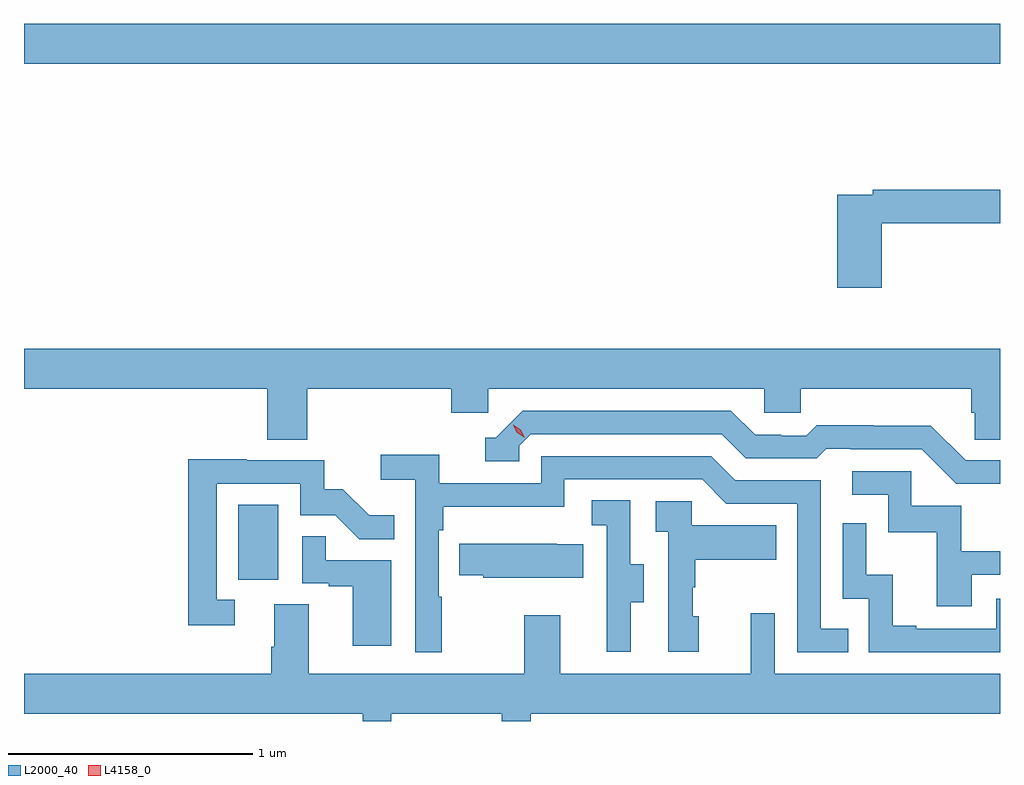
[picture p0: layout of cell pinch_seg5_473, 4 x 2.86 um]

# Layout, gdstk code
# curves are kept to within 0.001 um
import gdstk
lib = gdstk.Library(unit=1e-6, precision=1e-09)
def R(c, l, rs):  # rectangles x0, y0, x1, y1
    for r in rs: c.add(gdstk.rectangle(r[:2], r[2:], *l))
def P(c, l, *ps):  # polygons
    for p in ps: c.add(gdstk.Polygon(p, *l))
L2000_40 = (2000, 40)
L4158_0 = (4158, 0)

pinch_seg5_473 = lib.new_cell('pinch_seg5_473')
R(pinch_seg5_473, L2000_40, [(923.672,846.654,923.836,846.961), (922.793,848.768,926.793,848.932)])
P(pinch_seg5_473, L2000_40, [(926.309,848.116),(926.793,848.116),(926.793,848.252),(926.272,848.252),(926.272,848.232),(926.126,848.232),(926.126,847.851),(926.309,847.851)],
  [(922.793,847.436),(923.789,847.436),(923.789,847.228),(923.954,847.228),(923.954,847.436),(924.545,847.436),(924.545,847.338),(924.696,847.338),(924.696,847.436),(925.827,847.436),(925.827,847.338),(925.977,847.338),(925.977,847.436),(926.675,847.436),(926.675,847.338),(926.689,847.338),(926.689,847.228),(926.793,847.228),(926.793,847.6),(922.793,847.6)],
  [(926.793,847.143),(926.652,847.143),(926.51,847.285),(926.274,847.285),(926.274,847.288),(926.041,847.288),(925.999,847.245),(925.896,847.245),(925.896,847.248),(925.789,847.248),(925.69,847.347),(924.837,847.347),(924.726,847.236),(924.683,847.236),(924.683,847.14),(924.822,847.14),(924.822,847.203),(924.87,847.251),(925.653,847.251),(925.752,847.152),(926.041,847.152),(926.08,847.191),(926.179,847.191),(926.179,847.188),(926.472,847.188),(926.613,847.047),(926.793,847.047)],
  [(924.505,846.584),(924.492,846.584),(924.492,846.857),(924.512,846.857),(924.512,846.953),(925.008,846.953),(925.008,847.065),(925.572,847.065),(925.671,846.966),(925.962,846.966),(925.962,846.357),(926.171,846.357),(926.171,846.453),(926.058,846.453),(926.058,847.062),(925.708,847.062),(925.609,847.161),(924.912,847.161),(924.912,847.05),(924.494,847.05),(924.494,847.166),(924.255,847.166),(924.255,847.064),(924.396,847.064),(924.396,846.357),(924.505,846.357)],
  [(923.656,846.573),(923.583,846.573),(923.583,847.047),(923.925,847.047),(923.925,846.918),(924.069,846.918),(924.167,846.82),(924.311,846.82),(924.311,846.919),(924.207,846.919),(924.1,847.026),(924.024,847.026),(924.024,847.143),(923.705,847.143),(923.705,847.148),(923.467,847.148),(923.467,846.468),(923.656,846.468)],
  [(926.677,846.675),(926.793,846.675),(926.793,846.771),(926.635,846.771),(926.635,846.957),(926.43,846.957),(926.43,847.098),(926.187,847.098),(926.187,847.002),(926.334,847.002),(926.334,846.849),(926.533,846.849),(926.533,846.546),(926.677,846.546)],
  [(925.279,846.562),(925.333,846.562),(925.333,846.717),(925.278,846.717),(925.278,846.98),(925.119,846.98),(925.119,846.877),(925.182,846.877),(925.182,846.573),(925.181,846.573),(925.181,846.36),(925.279,846.36)],
  [(925.558,846.504),(925.533,846.504),(925.533,846.623),(925.543,846.623),(925.543,846.737),(925.877,846.737),(925.877,846.877),(925.53,846.877),(925.53,846.975),(925.383,846.975),(925.383,846.851),(925.434,846.851),(925.434,846.36),(925.558,846.36)],
  [(926.793,846.576),(926.778,846.576),(926.778,846.453),(926.449,846.453),(926.449,846.466),(926.354,846.466),(926.354,846.674),(926.244,846.674),(926.244,846.886),(926.148,846.886),(926.148,846.576),(926.256,846.576),(926.256,846.357),(926.793,846.357)],
  [(924.298,846.735),(924.029,846.735),(924.029,846.833),(923.934,846.833),(923.934,846.639),(924.041,846.639),(924.041,846.627),(924.14,846.627),(924.14,846.384),(924.298,846.384)],
  [(925.085,846.799),(924.977,846.799),(924.977,846.802),(924.577,846.802),(924.577,846.673),(924.675,846.673),(924.675,846.662),(925.085,846.662)],
  [(924.299,846.104),(924.752,846.104),(924.752,846.075),(924.869,846.075),(924.869,846.104),(926.793,846.104),(926.793,846.268),(925.869,846.268),(925.869,846.517),(925.772,846.517),(925.772,846.268),(924.991,846.268),(924.991,846.508),(924.844,846.508),(924.844,846.268),(923.959,846.268),(923.959,846.554),(923.819,846.554),(923.819,846.38),(923.807,846.38),(923.807,846.268),(922.793,846.268),(922.793,846.104),(924.181,846.104),(924.181,846.075),(924.299,846.075)])
P(pinch_seg5_473, L4158_0, [(924.845,847.236),(924.814,847.256),(924.798,847.288),(924.798,847.289),(924.799,847.289),(924.829,847.269),(924.845,847.237),(924.845,847.236)])

lib.write_gds('pinch_seg5_473.gds')
